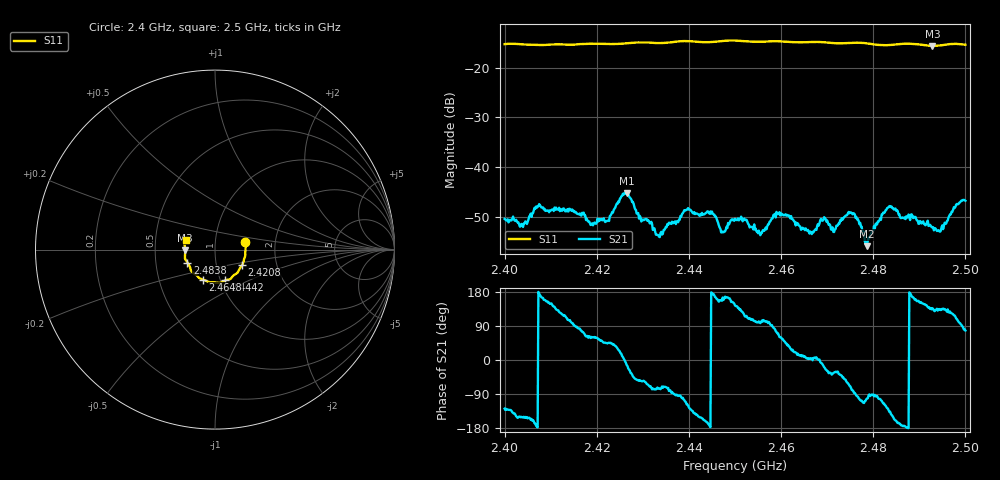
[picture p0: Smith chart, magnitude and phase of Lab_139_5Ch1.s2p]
# Hz S RI R 50
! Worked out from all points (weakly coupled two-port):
!   601 points, 2.4 GHz to 2.5 GHz, reference 50 ohm
!   highest |S21| = -45.26 dB at 2.4265 GHz (marker M1); lowest = -55.9 dB at 2.4787 GHz (marker M2)
!   lowest |S11| = -15.6 dB at 2.4928 GHz (marker M3), VSWR 1.40, Z = 35.8 - j0.351 ohm
!   |S11| at or under -10 dB: start of sweep to end of sweep
!   S12 and S22 are empty: the file has one direction only
!   S11 on the Smith chart (normalised r, x): 2.4 GHz: 1.40, +0.12; 2.4208 GHz: 1.33, -0.24; 2.4442 GHz: 1.05, -0.37; 2.4648 GHz: 0.83, -0.29; 2.4838 GHz: 0.73, -0.11; 2.5 GHz: 0.72, +0.08
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2.4e9  0.1677 0.0412  -0.00187 -0.00236  0 0  0 0
2.403833e9  0.1709 0.0184  -0.00223 -0.00123  0 0  0 0
2.407333e9  0.1689 -0.0122  -0.00404 2.14e-05  0 0  0 0
2.416667e9  0.159 -0.0681  0.000715 0.00317  0 0  0 0
2.420833e9  0.1506 -0.087  0.00189 0.0023  0 0  0 0
2.4265e9  0.1317 -0.117  0.00531 -0.00128  0 0  0 0
2.433333e9  0.1078 -0.1402  0.000512 -0.002  0 0  0 0
2.439333e9  0.0842 -0.165  -0.00132 -0.00345  0 0  0 0
2.444167e9  0.0566 -0.1715  -0.0035 -0.00072  0 0  0 0
2.447333e9  0.0357 -0.1823  -0.00217 0.000586  0 0  0 0
2.45e9  0.0247 -0.186  -0.00245 0.00177  0 0  0 0
2.4555e9  -0.0107 -0.1822  -0.000261 0.00205  0 0  0 0
2.4595e9  -0.0328 -0.1814  0.00145 0.0031  0 0  0 0
2.464833e9  -0.0683 -0.1669  0.00237 0.000462  0 0  0 0
2.466667e9  -0.08 -0.1628  0.00211 0.000159  0 0  0 0
2.475167e9  -0.1235 -0.1278  0.001 -0.00335  0 0  0 0
2.478667e9  -0.1355 -0.1117  -0.000321 -0.00157  0 0  0 0
2.483333e9  -0.1506 -0.076  -0.00265 -0.00291  0 0  0 0
2.483833e9  -0.1533 -0.0721  -0.00315 -0.0024  0 0  0 0
2.492833e9  -0.1658 -0.00477  -0.00182 0.00171  0 0  0 0
2.494833e9  -0.1675 0.0158  -0.00175 0.00178  0 0  0 0
2.5e9  -0.1619 0.0531  0.000961 0.00448  0 0  0 0
